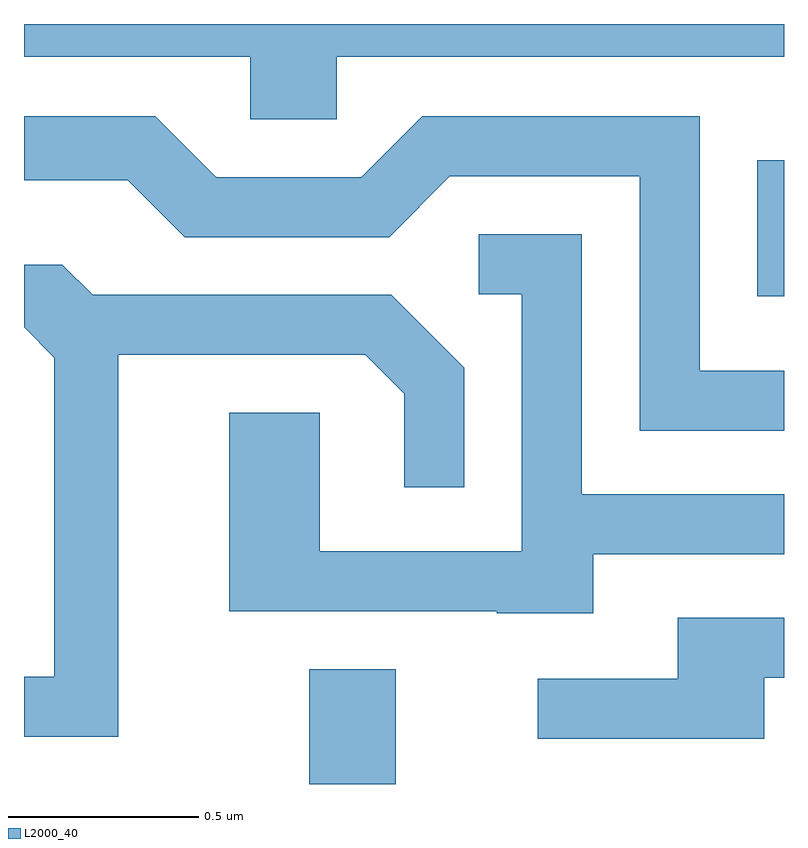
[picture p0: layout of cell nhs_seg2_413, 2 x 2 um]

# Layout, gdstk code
import gdstk
lib = gdstk.Library(unit=1e-6, precision=1e-09)
def R(c, l, rs):  # rectangles x0, y0, x1, y1
    for r in rs: c.add(gdstk.rectangle(r[:2], r[2:], *l))
def P(c, l, *ps):  # polygons
    for p in ps: c.add(gdstk.Polygon(p, *l))
L2000_40 = (2000, 40)

nhs_seg2_413 = lib.new_cell('nhs_seg2_413')
R(nhs_seg2_413, L2000_40, [(189.361,979.802,189.589,980.104), (190.541,981.086,190.611,981.443)])
P(nhs_seg2_413, L2000_40, [(189.434,981.716),(190.611,981.716),(190.611,981.802),(188.611,981.802),(188.611,981.716),(189.206,981.716),(189.206,981.551),(189.434,981.551)],
  [(190.611,980.889),(190.389,980.889),(190.389,981.559),(189.659,981.559),(189.499,981.399),(189.117,981.399),(188.957,981.559),(188.611,981.559),(188.611,981.391),(188.884,981.391),(189.034,981.241),(189.572,981.241),(189.732,981.401),(190.231,981.401),(190.231,980.731),(190.611,980.731)],
  [(190.109,980.406),(190.611,980.406),(190.611,980.564),(190.079,980.564),(190.079,981.249),(189.808,981.249),(189.808,981.091),(189.921,981.091),(189.921,980.414),(189.389,980.414),(189.389,980.779),(189.151,980.779),(189.151,980.256),(189.855,980.256),(189.855,980.251),(190.109,980.251)],
  [(188.859,980.931),(189.509,980.931),(189.611,980.829),(189.611,980.583),(189.769,980.583),(189.769,980.897),(189.577,981.089),(188.792,981.089),(188.712,981.169),(188.611,981.169),(188.611,981.004),(188.691,980.924),(188.691,980.084),(188.611,980.084),(188.611,979.926),(188.859,979.926)],
  [(190.559,980.081),(190.611,980.081),(190.611,980.239),(190.331,980.239),(190.331,980.079),(189.963,980.079),(189.963,979.921),(190.559,979.921)])

lib.write_gds('nhs_seg2_413.gds')
